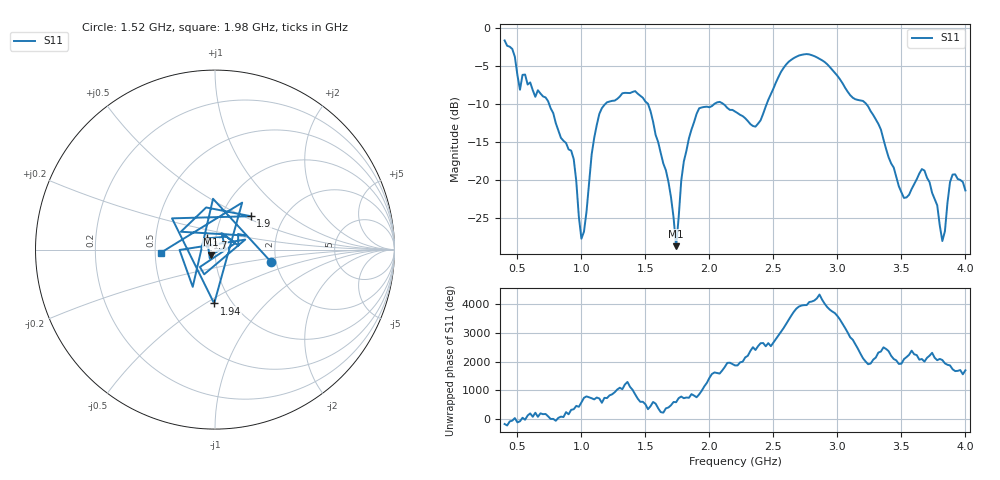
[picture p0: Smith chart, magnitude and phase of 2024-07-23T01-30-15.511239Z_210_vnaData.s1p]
!Created with skrf (http://scikit-rf.org).
# Hz S RI R 50.0
!freq ReS11 ImS11
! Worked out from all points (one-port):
!   181 points, 400 MHz to 4 GHz, reference 50 ohm
!   lowest |S11| = -28.7 dB at 1.74 GHz (marker M1), VSWR 1.08, Z = 47.7 - j2.74 ohm
!   |S11| at or under -10 dB: 747.6 MHz to 1.187 GHz (439.4 MHz wide, 45.4 % of centre); 1.521 GHz to 2.038 GHz (517.8 MHz wide, 29.1 % of centre); 3.225 GHz to end of sweep (the widest 3 of 4)
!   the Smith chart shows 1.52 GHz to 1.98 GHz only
!   S11 on the Smith chart (normalised r, x): 1.52 GHz: 1.87, -0.28; 1.7 GHz: 0.91, +0.11; 1.9 GHz: 1.37, +0.55; 1.94 GHz: 0.83, -0.55; 1.98 GHz: 0.53, -0.02
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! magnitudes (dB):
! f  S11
! 400 MHz  -1.6
! 480 MHz  -3.8
! 520 MHz  -8.1
! 560 MHz  -6.1
! 720 MHz  -9.1
! 860 MHz  -14.8
! 940 MHz  -17.3
! 1 GHz  -27.7
! 1.14 GHz  -11.3
! 1.3 GHz  -9.0
! 1.52 GHz  -10.0
! 1.7 GHz  -22.3
! 1.74 GHz  -28.7
! 1.76 GHz  -24.9
! 1.8 GHz  -17.6
! 1.9 GHz  -11.3
! 1.94 GHz  -10.5
! 1.98 GHz  -10.4
! 2.2 GHz  -11.0
! 2.36 GHz  -13.0
! 2.66 GHz  -4.0
! 3.1 GHz  -8.8
! 3.28 GHz  -11.5
! 3.56 GHz  -21.9
! 3.68 GHz  -18.8
! 3.82 GHz  -28.0
! 3.9 GHz  -19.3
! 4 GHz  -21.4
